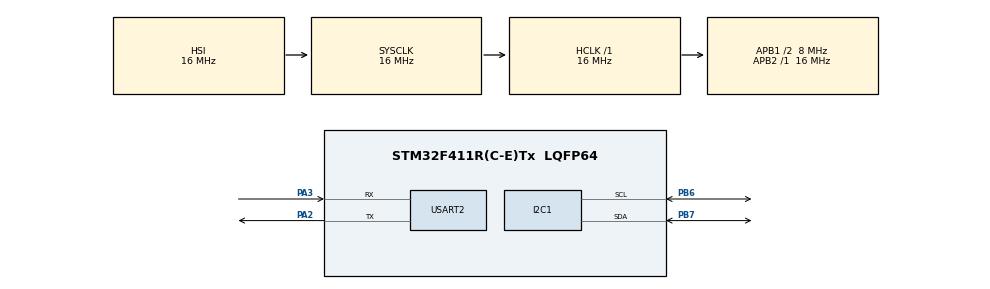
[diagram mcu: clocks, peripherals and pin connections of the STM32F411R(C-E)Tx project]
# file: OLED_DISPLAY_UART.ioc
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I2C1.I2C_Mode=I2C_Fast
Mcu.Family=STM32F4
Mcu.Name=STM32F411R(C-E)Tx
Mcu.Package=LQFP64
NVIC.PriorityGroup=NVIC_PRIORITYGROUP_0
PA2.Mode=Asynchronous
PA2.Signal=USART2_TX
PA3.Mode=Asynchronous
PA3.Signal=USART2_RX
PB6.Mode=I2C
PB6.Signal=I2C1_SCL
PB7.Mode=I2C
PB7.Signal=I2C1_SDA
PC14-OSC32_IN.Mode=LSE-External-Oscillator
PC14-OSC32_IN.Signal=RCC_OSC32_IN
PC15-OSC32_OUT.Mode=LSE-External-Oscillator
PC15-OSC32_OUT.Signal=RCC_OSC32_OUT
ProjectManager.HeapSize=0x200
ProjectManager.StackSize=0x400
ProjectManager.TargetToolchain=STM32CubeIDE
RCC.48MHZClocksFreq_Value=84000000
RCC.AHBFreq_Value=16000000
RCC.APB1CLKDivider=RCC_HCLK_DIV2
RCC.APB1Freq_Value=8000000
RCC.APB1TimFreq_Value=16000000
RCC.APB2Freq_Value=16000000
RCC.APB2TimFreq_Value=16000000
RCC.CortexFreq_Value=16000000
RCC.FLatency-AdvancedSettings=FLASH_LATENCY_0
RCC.HCLKFreq_Value=16000000
RCC.HSE_VALUE=8000000
RCC.HSI_VALUE=16000000
RCC.PLLN=336
RCC.PLLP=RCC_PLLP_DIV4
RCC.SYSCLKFreq_VALUE=16000000
RCC.VCOOutputFreq_Value=336000000
USART2.VirtualMode=VM_ASYNC
board=NUCLEO-F411RE

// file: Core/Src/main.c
/* USER CODE BEGIN Header */
/**
 ******************************************************************************
 * @file           : main.c
 * @brief          : Main program body
 ******************************************************************************
 * @attention
 *
 * Copyright (c) 2023 STMicroelectronics.
 * All rights reserved.
 * Published By :- Sandesh Kale
 * Github      :- github/JAGAHPEE
 * This software is licensed under terms that can be found in the LICENSE file
 * in the root directory of this software component.
 * If no LICENSE file comes with this software, it is provided AS-IS.
 *
 ******************************************************************************
 */
/* USER CODE END Header */
#include "main.h"

/* USER CODE BEGIN Includes */
#include "ssd1306.h"
#include <string.h>
/* USER CODE END Includes */

I2C_HandleTypeDef hi2c1;

UART_HandleTypeDef huart2;

/* USER CODE BEGIN PV */
char str[20];
/* USER CODE END PV */

void SystemClock_Config(void);
static void MX_GPIO_Init(void);
static void MX_I2C1_Init(void);
static void MX_USART2_UART_Init(void);

/* USER CODE BEGIN 0 */
int str_check()
{
	uint8_t ready[] = "Ready : ";
	uint8_t check[1];
	HAL_UART_Transmit(&huart2,ready, sizeof(ready),HAL_MAX_DELAY);
	HAL_UART_Receive(&huart2, check, 1, 5000);
	if(check[0]=='y')
	{
		return 1;
	}
	return 0;
}
int read_string(uint8_t str[],uint8_t size)
{
	uint8_t buffer[1];
	uint8_t i=0;
	HAL_UART_Receive(&huart2, buffer, 1, 1000);
	str[i] = buffer[0];
	while(buffer[0]!='#'&&i<=size)
	{
		HAL_UART_Receive(&huart2, buffer, 1, 1000);
		str[i] = buffer[0];
		i++;
	}
	if(buffer[0]=='#')
	{
		str[i-1] = '\0';
	}
	else
	{
		str[i] = '\0';

	}
	return i;

}
/* USER CODE END 0 */

int main(void)
{

	/* MCU Configuration--------------------------------------------------------*/

	/* Reset of all peripherals, Initializes the Flash interface and the Systick. */
	HAL_Init();

	/* Configure the system clock */
	SystemClock_Config();

	/* Initialize all configured peripherals */
	MX_GPIO_Init();
	MX_I2C1_Init();
	MX_USART2_UART_Init();
	/* USER CODE BEGIN 2 */
	SSD1306_Init();
	//	HAL_UART_Receive(&huart2, str, sizeof(str), 5000);
	/* USER CODE END 2 */

	/* Infinite loop */
	while (1)
	{

		/* USER CODE BEGIN 3 */
		if(str_check())
		{
			uint8_t i = read_string(str, sizeof(str));
			HAL_UART_Transmit(&huart2,(uint8_t*)str, i, 100);
			SSD1306_Clear();
			HAL_Delay(200);
			SSD1306_GotoXY(0, 0);
			ssd1306_write(str, Font_7x10);
			HAL_Delay(200);
		}
	}
	/* USER CODE END 3 */
}

void SystemClock_Config(void)
{
	RCC_OscInitTypeDef RCC_OscInitStruct = {0};
	RCC_ClkInitTypeDef RCC_ClkInitStruct = {0};

	/** Configure the main internal regulator output voltage
	 */
	__HAL_RCC_PWR_CLK_ENABLE();
	__HAL_PWR_VOLTAGESCALING_CONFIG(PWR_REGULATOR_VOLTAGE_SCALE1);

	/** Initializes the RCC Oscillators according to the specified parameters
	 * in the RCC_OscInitTypeDef structure.
	 */
	RCC_OscInitStruct.OscillatorType = RCC_OSCILLATORTYPE_HSI;
	RCC_OscInitStruct.HSIState = RCC_HSI_ON;
	RCC_OscInitStruct.HSICalibrationValue = RCC_HSICALIBRATION_DEFAULT;
	RCC_OscInitStruct.PLL.PLLState = RCC_PLL_NONE;
	if (HAL_RCC_OscConfig(&RCC_OscInitStruct) != HAL_OK)
	{
		Error_Handler();
	}

	/** Initializes the CPU, AHB and APB buses clocks
	 */
	RCC_ClkInitStruct.ClockType = RCC_CLOCKTYPE_HCLK|RCC_CLOCKTYPE_SYSCLK
			|RCC_CLOCKTYPE_PCLK1|RCC_CLOCKTYPE_PCLK2;
	RCC_ClkInitStruct.SYSCLKSource = RCC_SYSCLKSOURCE_HSI;
	RCC_ClkInitStruct.AHBCLKDivider = RCC_SYSCLK_DIV1;
	RCC_ClkInitStruct.APB1CLKDivider = RCC_HCLK_DIV2;
	RCC_ClkInitStruct.APB2CLKDivider = RCC_HCLK_DIV1;

	if (HAL_RCC_ClockConfig(&RCC_ClkInitStruct, FLASH_LATENCY_0) != HAL_OK)
	{
		Error_Handler();
	}
}

static void MX_I2C1_Init(void)
{

	hi2c1.Instance = I2C1;
	hi2c1.Init.ClockSpeed = 400000;
	hi2c1.Init.DutyCycle = I2C_DUTYCYCLE_2;
	hi2c1.Init.OwnAddress1 = 0;
	hi2c1.Init.AddressingMode = I2C_ADDRESSINGMODE_7BIT;
	hi2c1.Init.DualAddressMode = I2C_DUALADDRESS_DISABLE;
	hi2c1.Init.OwnAddress2 = 0;
	hi2c1.Init.GeneralCallMode = I2C_GENERALCALL_DISABLE;
	hi2c1.Init.NoStretchMode = I2C_NOSTRETCH_DISABLE;
	if (HAL_I2C_Init(&hi2c1) != HAL_OK)
	{
		Error_Handler();
	}

}

static void MX_USART2_UART_Init(void)
{

	huart2.Instance = USART2;
	huart2.Init.BaudRate = 115200;
	huart2.Init.WordLength = UART_WORDLENGTH_8B;
	huart2.Init.StopBits = UART_STOPBITS_1;
	huart2.Init.Parity = UART_PARITY_NONE;
	huart2.Init.Mode = UART_MODE_TX_RX;
	huart2.Init.HwFlowCtl = UART_HWCONTROL_NONE;
	huart2.Init.OverSampling = UART_OVERSAMPLING_16;
	if (HAL_UART_Init(&huart2) != HAL_OK)
	{
		Error_Handler();
	}

}

static void MX_GPIO_Init(void)
{

	/* GPIO Ports Clock Enable */
	__HAL_RCC_GPIOC_CLK_ENABLE();
	__HAL_RCC_GPIOA_CLK_ENABLE();
	__HAL_RCC_GPIOB_CLK_ENABLE();

}

void Error_Handler(void)
{
	__disable_irq();
	while (1)
	{
	}
}
